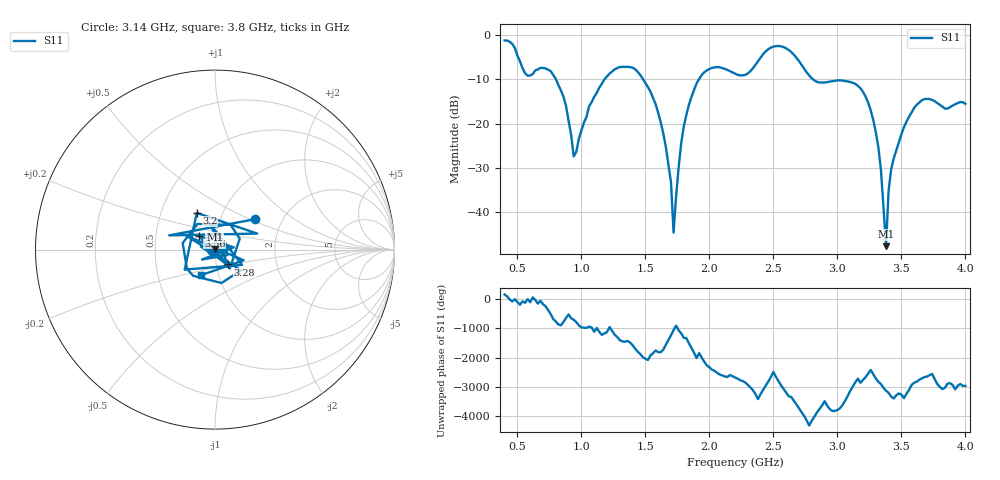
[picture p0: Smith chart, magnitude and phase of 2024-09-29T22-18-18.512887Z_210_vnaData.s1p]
!Created with skrf (http://scikit-rf.org).
# Hz S RI R 50.0
!freq ReS11 ImS11
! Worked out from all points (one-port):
!   181 points, 400 MHz to 4 GHz, reference 50 ohm
!   lowest |S11| = -47.7 dB at 3.38 GHz (marker M1), VSWR 1.01, Z = 49.9 + j0.39 ohm
!   |S11| at or under -10 dB: 801.6 MHz to 1.179 GHz (377.8 MHz wide, 38.1 % of centre); 1.483 GHz to 1.918 GHz (435.4 MHz wide, 25.6 % of centre); 2.81 GHz to end of sweep
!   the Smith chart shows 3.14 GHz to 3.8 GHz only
!   S11 on the Smith chart (normalised r, x): 3.14 GHz: 1.46, +0.54; 3.2 GHz: 0.76, +0.33; 3.28 GHz: 1.14, -0.19; 3.56 GHz: 0.82, +0.13; 3.8 GHz: 0.82, -0.24
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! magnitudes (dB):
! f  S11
! 400 MHz  -1.2
! 760 MHz  -8.1
! 860 MHz  -14.0
! 940 MHz  -27.4
! 1.06 GHz  -16.1
! 1.3 GHz  -7.2
! 1.44 GHz  -8.3
! 1.58 GHz  -15.6
! 1.7 GHz  -33.3
! 1.72 GHz  -44.6
! 1.76 GHz  -29.8
! 1.82 GHz  -18.0
! 1.92 GHz  -9.9
! 2.2 GHz  -8.7
! 2.5 GHz  -2.6
! 2.66 GHz  -4.4
! 2.84 GHz  -10.6
! 3.1 GHz  -10.6
! 3.14 GHz  -11.0
! 3.2 GHz  -12.8
! 3.28 GHz  -19.2
! 3.34 GHz  -30.4
! 3.38 GHz  -47.7
! 3.4 GHz  -35.1
! 3.42 GHz  -30.4
! 3.56 GHz  -18.4
! 3.8 GHz  -15.7
! 4 GHz  -15.5
